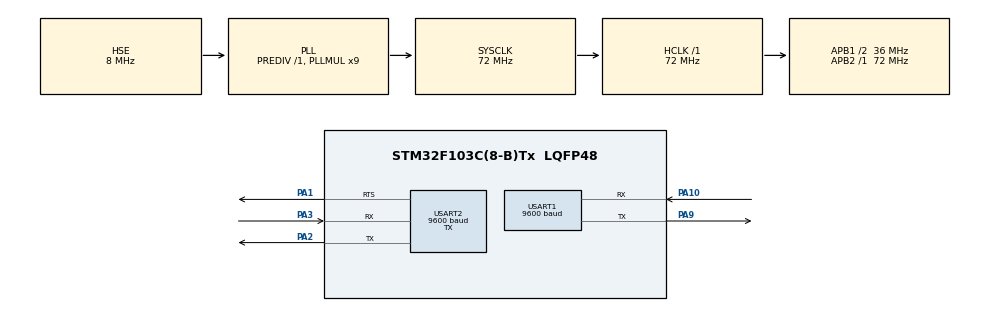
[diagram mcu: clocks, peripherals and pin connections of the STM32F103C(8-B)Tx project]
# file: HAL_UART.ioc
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Dma.Request0=USART2_TX
Dma.USART2_TX.0.Direction=DMA_MEMORY_TO_PERIPH
Dma.USART2_TX.0.Instance=DMA1_Channel7
Dma.USART2_TX.0.MemDataAlignment=DMA_MDATAALIGN_BYTE
Dma.USART2_TX.0.MemInc=DMA_MINC_ENABLE
Dma.USART2_TX.0.Mode=DMA_CIRCULAR
Dma.USART2_TX.0.PeriphDataAlignment=DMA_PDATAALIGN_BYTE
Dma.USART2_TX.0.PeriphInc=DMA_PINC_DISABLE
Dma.USART2_TX.0.Priority=DMA_PRIORITY_LOW
Mcu.Family=STM32F1
Mcu.Name=STM32F103C(8-B)Tx
Mcu.Package=LQFP48
NVIC.DMA1_Channel7_IRQn=true\:0\:0\:false\:false\:true\:false\:true\:true
NVIC.PriorityGroup=NVIC_PRIORITYGROUP_4
NVIC.USART1_IRQn=true\:0\:0\:false\:false\:true\:true\:true\:true
PA1.Mode=RTS_Only
PA1.Signal=USART2_RTS
PA10.Mode=Asynchronous
PA10.Signal=USART1_RX
PA13.Mode=Serial_Wire
PA13.Signal=SYS_JTMS-SWDIO
PA14.Mode=Serial_Wire
PA14.Signal=SYS_JTCK-SWCLK
PA2.Mode=Asynchronous
PA2.Signal=USART2_TX
PA3.Mode=Asynchronous
PA3.Signal=USART2_RX
PA9.Mode=Asynchronous
PA9.Signal=USART1_TX
PD0-OSC_IN.Mode=HSE-External-Oscillator
PD0-OSC_IN.Signal=RCC_OSC_IN
PD1-OSC_OUT.Mode=HSE-External-Oscillator
PD1-OSC_OUT.Signal=RCC_OSC_OUT
ProjectManager.HeapSize=0x200
ProjectManager.StackSize=0x400
ProjectManager.TargetToolchain=MDK-ARM V5.32
RCC.AHBFreq_Value=72000000
RCC.APB1CLKDivider=RCC_HCLK_DIV2
RCC.APB1Freq_Value=36000000
RCC.APB1TimFreq_Value=72000000
RCC.APB2Freq_Value=72000000
RCC.APB2TimFreq_Value=72000000
RCC.HCLKFreq_Value=72000000
RCC.PLLMUL=RCC_PLL_MUL9
RCC.PLLSourceVirtual=RCC_PLLSOURCE_HSE
RCC.SYSCLKFreq_VALUE=72000000
RCC.SYSCLKSource=RCC_SYSCLKSOURCE_PLLCLK
RCC.USBFreq_Value=72000000
USART1.BaudRate=9600
USART1.VirtualMode=VM_ASYNC
USART2.BaudRate=9600
USART2.Mode=MODE_TX
USART2.VirtualMode=VM_ASYNC
board=custom

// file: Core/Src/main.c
/* USER CODE BEGIN Header */
/**
  ******************************************************************************
  * @file           : main.c
  * @brief          : Main program body
  ******************************************************************************
  * @attention
  *
  * Copyright (c) 2024 STMicroelectronics.
  * All rights reserved.
  *
  * This software is licensed under terms that can be found in the LICENSE file
  * in the root directory of this software component.
  * If no LICENSE file comes with this software, it is provided AS-IS.
  *
  ******************************************************************************
  */
/* USER CODE END Header */
#include "main.h"
#include "stdio.h"

/* USER CODE BEGIN Includes */
#include "delay.h"
#include "gpio.h"
#include "spi.h"
#include "Timer.h"
#include "math.h"
#include "stdlib.h"
#include "i2c_drive.h"
#include "gp_drive.h"
#include "systick_time.h"

/*Motor control parameters*/
#define ENCODER_PPR 30

int counterVal = 0;
uint16_t position = 0;
uint16_t old_position = 0;
uint16_t encoderPPS = 0;
uint16_t currentFanRPM = 0;
uint16_t ms_count = 0;
uint8_t rx_data = 65;

uint8_t temperature_data = 25;

float control_signal;
uint8_t* fanRPMData;
char rpm_buffer[9]; // Adjust the size based on your integer size

float a = -0.52;
float b = 197.43;
float c = -7992;

/*AHT20 variables*/
uint8_t data[6];
float actualTemperature;
float actualHumidity;
uint8_t AHT20_Data[2];

/* USER CODE END Includes */

UART_HandleTypeDef huart1;
UART_HandleTypeDef huart2;
DMA_HandleTypeDef hdma_usart2_tx;

void SystemClock_Config(void);
static void MX_GPIO_Init(void);
static void MX_DMA_Init(void);
static void MX_USART2_UART_Init(void);
static void MX_USART1_UART_Init(void);

/* USER CODE BEGIN 0 */

void TIM1_UP_IRQHandler(){
	if(TIM1->SR & 0x1){  //Check if interrupt flag is set
		ms_count += 1;

		/*Calculate RPM every 200ms*/
		if(ms_count % 200 == 0){
			position = counterVal / 4;  //Get current position of encoder
			if (position >= old_position){
				encoderPPS = (position - old_position) * 5;
			}
			currentFanRPM = (encoderPPS * 60) / ENCODER_PPR;
			old_position = position;
		}

		/*Send RPM and Temperature data every 400ms*/
		if(ms_count >= 400){
    // Convert integer to string
			snprintf(rpm_buffer, sizeof(rpm_buffer), "%d %d\n", currentFanRPM, AHT20_Data[0]);
			HAL_UART_Transmit(&huart2, (uint8_t*)rpm_buffer, sizeof(rpm_buffer), 1000);
			ms_count = 0;
		}
		TIM1->SR &= ~1;  //Reset interrupt flag
	}
}

void TIM1_Config(){
	TIM_EnableTimerClock(TIM1);

	//Set prescaler and ARR value (Timer 1 generate interrupt every 1ms)
	TIM1->PSC = 72-1;
	TIM1->ARR = 1000 - 1;

	//Enable update interrupt
	TIM1->DIER |= (1 << 0);

	NVIC_EnableIRQ(TIM1_UP_IRQn);
	NVIC_SetPriority(TIM1_UP_IRQn, 2);

	TIM1->CR1 |= (1 << 0);  //Enable timer 1
}

void Set_FanSpeed(uint16_t DesiredFanRPM){
	control_signal = (b*(-1) + sqrt(pow(b,2) - 4*a*(c - DesiredFanRPM))) / (2*a);

	if(control_signal > 100.0) control_signal = 100.0;
	else if(control_signal < 0.0) control_signal = 0.0;

	TIM_SetCCRxReg(TIM3,control_signal, TIM_Channel_3);
}

void Set_DutyCycle(uint8_t DutyCycle){
	TIM_SetCCRxReg(TIM3,DutyCycle, TIM_Channel_3);
}

void HAL_UART_RxCpltCallback(UART_HandleTypeDef *huart){
	HAL_UART_Receive_IT(&huart1, &rx_data, 1);
}

void HAL_UART_TxCpltCallback(UART_HandleTypeDef *huart){
	HAL_UART_Transmit_IT(&huart2, fanRPMData, 4);
}

void AHT20_Init(){
	DelayMs(40);
	//Send Init command to AHT20

	uint8_t status;
	I2C_read1(0x38, &status, 1);

	if (!(status & (1 << 3)))
	{
		uint8_t init_command[] = {0xBE, 0x08, 0x00};
		I2C_write(0x38, init_command, 3);
		DelayMs(10);
	}

}

void AHT20_GetData(uint8_t *sensor_data){
	//Send trigger measurement command

	uint8_t trigger_command[] = {0xAC, 0x38, 0x00};
	I2C_write(0x38, trigger_command, 3);
	//
	DelayMs(80);

	//Wait for measurement to be completed
	uint8_t status;
	do
	{
		I2C_read1(0x38, &status, 1);
	}while(status & (1 << 7));

	//get data
	I2C_read(0x38,sensor_data, 6);
}

void AHT20_GetValue(uint8_t* value){
	AHT20_GetData(data);
	uint32_t humidity = ((data[1] << 16) | (data[2] << 8) | data[3]) >> 4;
	uint32_t temperature = ((data[3] & 0x0F) << 16) | (data[4] << 8) | data[5];

	actualTemperature = (temperature * 200.0 / 1048576.0) - 50.0;
	actualHumidity = (humidity * 100.0 / 1048576.0);

	value[0] = (uint8_t) actualTemperature;
	value [1] = (uint8_t) actualHumidity;
}
/* USER CODE END 0 */

int main(void)
{

  /* MCU Configuration--------------------------------------------------------*/

  /* Reset of all peripherals, Initializes the Flash interface and the Systick. */
  HAL_Init();

  /* Configure the system clock */
  SystemClock_Config();

  /* Initialize all configured peripherals */
  MX_GPIO_Init();
  MX_DMA_Init();
  MX_USART2_UART_Init();
  MX_USART1_UART_Init();
  /* USER CODE BEGIN 2 */

	TIM2_Config();
	TIM1_Config(); //Init timer 1 to generate interrupt every 1ms

	//Init Timer 3 channel 1 IO for PWM functionality
	GPIO_Init(GPIO_B, 0, AFIO_OUTPUT);
	//PWM Init and run
	TIM_PWM_Init(TIM3, TIM_Channel_3, 72, 100, 80);
	TIM_PWM_Start(TIM3, TIM_Channel_3);

	//Encoder Mode Init and run
	TIM_Encoder_Init(TIM4, SLAVE_EncoderMode_3);
	TIM_EncoderStart(TIM4);

	HAL_UART_Receive_IT(&huart1, &rx_data, 1);

	//Init I2C and AHT20
	I2C_init(I2C1_REMAP_ENABLE);
	AHT20_Init();

  /* USER CODE END 2 */

  /* Infinite loop */
  while (1)
  {

    /* USER CODE BEGIN 3 */
		counterVal = TIM4->CNT; //Get current counter value from timer 3
		Set_DutyCycle(rx_data);

		AHT20_GetValue(AHT20_Data);
		HAL_Delay(20);
  }
  /* USER CODE END 3 */
}

void SystemClock_Config(void)
{
  RCC_OscInitTypeDef RCC_OscInitStruct = {0};
  RCC_ClkInitTypeDef RCC_ClkInitStruct = {0};

  /** Initializes the RCC Oscillators according to the specified parameters
  * in the RCC_OscInitTypeDef structure.
  */
  RCC_OscInitStruct.OscillatorType = RCC_OSCILLATORTYPE_HSE;
  RCC_OscInitStruct.HSEState = RCC_HSE_ON;
  RCC_OscInitStruct.HSEPredivValue = RCC_HSE_PREDIV_DIV1;
  RCC_OscInitStruct.HSIState = RCC_HSI_ON;
  RCC_OscInitStruct.PLL.PLLState = RCC_PLL_ON;
  RCC_OscInitStruct.PLL.PLLSource = RCC_PLLSOURCE_HSE;
  RCC_OscInitStruct.PLL.PLLMUL = RCC_PLL_MUL9;
  if (HAL_RCC_OscConfig(&RCC_OscInitStruct) != HAL_OK)
  {
    Error_Handler();
  }

  /** Initializes the CPU, AHB and APB buses clocks
  */
  RCC_ClkInitStruct.ClockType = RCC_CLOCKTYPE_HCLK|RCC_CLOCKTYPE_SYSCLK
                              |RCC_CLOCKTYPE_PCLK1|RCC_CLOCKTYPE_PCLK2;
  RCC_ClkInitStruct.SYSCLKSource = RCC_SYSCLKSOURCE_PLLCLK;
  RCC_ClkInitStruct.AHBCLKDivider = RCC_SYSCLK_DIV1;
  RCC_ClkInitStruct.APB1CLKDivider = RCC_HCLK_DIV2;
  RCC_ClkInitStruct.APB2CLKDivider = RCC_HCLK_DIV1;

  if (HAL_RCC_ClockConfig(&RCC_ClkInitStruct, FLASH_LATENCY_2) != HAL_OK)
  {
    Error_Handler();
  }
}

static void MX_USART1_UART_Init(void)
{

  huart1.Instance = USART1;
  huart1.Init.BaudRate = 9600;
  huart1.Init.WordLength = UART_WORDLENGTH_8B;
  huart1.Init.StopBits = UART_STOPBITS_1;
  huart1.Init.Parity = UART_PARITY_NONE;
  huart1.Init.Mode = UART_MODE_TX_RX;
  huart1.Init.HwFlowCtl = UART_HWCONTROL_NONE;
  huart1.Init.OverSampling = UART_OVERSAMPLING_16;
  if (HAL_UART_Init(&huart1) != HAL_OK)
  {
    Error_Handler();
  }

}

static void MX_USART2_UART_Init(void)
{

  huart2.Instance = USART2;
  huart2.Init.BaudRate = 9600;
  huart2.Init.WordLength = UART_WORDLENGTH_8B;
  huart2.Init.StopBits = UART_STOPBITS_1;
  huart2.Init.Parity = UART_PARITY_NONE;
  huart2.Init.Mode = UART_MODE_TX;
  huart2.Init.HwFlowCtl = UART_HWCONTROL_RTS;
  huart2.Init.OverSampling = UART_OVERSAMPLING_16;
  if (HAL_UART_Init(&huart2) != HAL_OK)
  {
    Error_Handler();
  }

}

static void MX_DMA_Init(void)
{

  /* DMA controller clock enable */
  __HAL_RCC_DMA1_CLK_ENABLE();

  /* DMA interrupt init */
  /* DMA1_Channel7_IRQn interrupt configuration */
  HAL_NVIC_SetPriority(DMA1_Channel7_IRQn, 0, 0);
  HAL_NVIC_EnableIRQ(DMA1_Channel7_IRQn);

}

static void MX_GPIO_Init(void)
{

  /* GPIO Ports Clock Enable */
  __HAL_RCC_GPIOD_CLK_ENABLE();
  __HAL_RCC_GPIOA_CLK_ENABLE();

}

void Error_Handler(void)
{
  __disable_irq();
  while (1)
  {
  }
}
